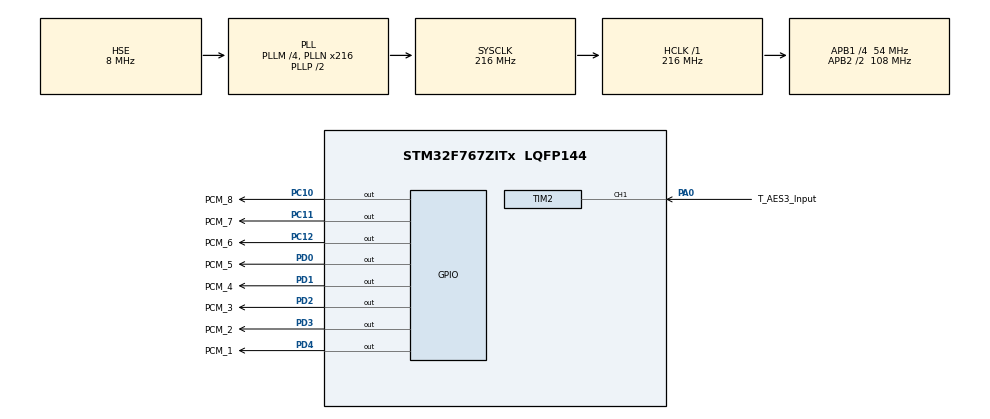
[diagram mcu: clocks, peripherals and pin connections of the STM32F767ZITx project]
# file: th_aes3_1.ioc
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Mcu.Family=STM32F7
Mcu.Name=STM32F767ZITx
Mcu.Package=LQFP144
NVIC.PriorityGroup=NVIC_PRIORITYGROUP_4
NVIC.TIM1_BRK_TIM9_IRQn=true\:0\:0\:false\:false\:true\:true
NVIC.TIM1_CC_IRQn=true\:0\:0\:false\:false\:true\:true
NVIC.TIM1_TRG_COM_TIM11_IRQn=true\:0\:0\:false\:false\:true\:true
NVIC.TIM1_UP_TIM10_IRQn=true\:0\:0\:false\:false\:true\:true
NVIC.TIM2_IRQn=true\:0\:0\:false\:false\:true\:true
PA0/WKUP.GPIO_Label=T_AES3_Input
PA0/WKUP.Signal=S_TIM2_CH1_ETR
PA13.GPIO_Label=TMS
PA13.Mode=Serial_Wire
PA13.Signal=SYS_JTMS-SWDIO
PA14.GPIO_Label=TCK
PA14.Mode=Serial_Wire
PA14.Signal=SYS_JTCK-SWCLK
PC10.GPIO_Label=PCM_8
PC10.Signal=GPIO_Output
PC11.GPIO_Label=PCM_7
PC11.Signal=GPIO_Output
PC12.GPIO_Label=PCM_6
PC12.GPIO_Speed=GPIO_SPEED_FREQ_VERY_HIGH
PC12.Signal=GPIO_Output
PC14/OSC32_IN.Mode=LSE-External-Oscillator
PC14/OSC32_IN.Signal=RCC_OSC32_IN
PC15/OSC32_OUT.Mode=LSE-External-Oscillator
PC15/OSC32_OUT.Signal=RCC_OSC32_OUT
PD0.GPIO_Label=PCM_5
PD0.Signal=GPIO_Output
PD1.GPIO_Label=PCM_4
PD1.Signal=GPIO_Output
PD2.GPIO_Label=PCM_3
PD2.Signal=GPIO_Output
PD3.GPIO_Label=PCM_2
PD3.Signal=GPIO_Output
PD4.GPIO_Label=PCM_1
PD4.Signal=GPIO_Output
PH0/OSC_IN.GPIO_Label=MCO [STM32F103CBT6_PA8]
PH0/OSC_IN.Mode=HSE-External-Clock-Source
PH0/OSC_IN.Signal=RCC_OSC_IN
PH1/OSC_OUT.Mode=HSE-External-Clock-Source
PH1/OSC_OUT.Signal=RCC_OSC_OUT
ProjectManager.HeapSize=0x200
ProjectManager.StackSize=0x400
ProjectManager.TargetToolchain=SW4STM32
RCC.48MHZClocksFreq_Value=24000000
RCC.AHBFreq_Value=216000000
RCC.APB1CLKDivider=RCC_HCLK_DIV4
RCC.APB1Freq_Value=54000000
RCC.APB1TimFreq_Value=108000000
RCC.APB2CLKDivider=RCC_HCLK_DIV2
RCC.APB2Freq_Value=108000000
RCC.APB2TimFreq_Value=216000000
RCC.CortexFreq_Value=216000000
RCC.HCLKFreq_Value=216000000
RCC.HSE_VALUE=8000000
RCC.HSI_VALUE=16000000
RCC.PLLM=4
RCC.PLLMUL=RCC_PLL_MUL9
RCC.PLLN=216
RCC.PLLQ=9
RCC.PLLSourceVirtual=RCC_PLLSOURCE_HSE
RCC.PRESCALERUSB=RCC_USBCLKSOURCE_PLL_DIV1_5
RCC.SYSCLKFreq_VALUE=216000000
RCC.SYSCLKSource=RCC_SYSCLKSOURCE_PLLCLK
RCC.SYSCLKSourceVirtual=RCC_SYSCLKSOURCE_PLLCLK
RCC.USBFreq_Value=48000000
RCC.VCOOutputFreq_Value=432000000
SH.S_TIM2_CH1_ETR.0=TIM2_CH1,Input_Capture1_from_TI1
TIM1.Channel-Input_Capture1_from_TI1=TIM_CHANNEL_1
TIM1.Period=1000
TIM1.RepetitionCounter=0
TIM2.Channel-Input_Capture1_from_TI1=TIM_CHANNEL_1
TIM2.ICPolarity_CH1=TIM_INPUTCHANNELPOLARITY_BOTHEDGE
TIM2.Period=1000
VP_TIM1_VS_ClockSourceINT.Mode=Internal
VP_TIM2_VS_ClockSourceINT.Mode=Internal
board=NUCLEO-F767ZI

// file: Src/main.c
/**
  ******************************************************************************
  * @file           : main.c
  * @brief          : Main program body
  ******************************************************************************
  ** This notice applies to any and all portions of this file
  * that are not between comment pairs USER CODE BEGIN and
  * USER CODE END. Other portions of this file, whether
  * inserted by the user or by software development tools
  * are owned by their respective copyright owners.
  *
  * COPYRIGHT(c) 2018 STMicroelectronics
  *
  * Redistribution and use in source and binary forms, with or without modification,
  * are permitted provided that the following conditions are met:
  *   1. Redistributions of source code must retain the above copyright notice,
  *      this list of conditions and the following disclaimer.
  *   2. Redistributions in binary form must reproduce the above copyright notice,
  *      this list of conditions and the following disclaimer in the documentation
  *      and/or other materials provided with the distribution.
  *   3. Neither the name of STMicroelectronics nor the names of its contributors
  *      may be used to endorse or promote products derived from this software
  *      without specific prior written permission.
  *
  * THIS SOFTWARE IS PROVIDED BY THE COPYRIGHT HOLDERS AND CONTRIBUTORS "AS IS"
  * AND ANY EXPRESS OR IMPLIED WARRANTIES, INCLUDING, BUT NOT LIMITED TO, THE
  * IMPLIED WARRANTIES OF MERCHANTABILITY AND FITNESS FOR A PARTICULAR PURPOSE ARE
  * DISCLAIMED. IN NO EVENT SHALL THE COPYRIGHT HOLDER OR CONTRIBUTORS BE LIABLE
  * FOR ANY DIRECT, INDIRECT, INCIDENTAL, SPECIAL, EXEMPLARY, OR CONSEQUENTIAL
  * DAMAGES (INCLUDING, BUT NOT LIMITED TO, PROCUREMENT OF SUBSTITUTE GOODS OR
  * SERVICES; LOSS OF USE, DATA, OR PROFITS; OR BUSINESS INTERRUPTION) HOWEVER
  * CAUSED AND ON ANY THEORY OF LIABILITY, WHETHER IN CONTRACT, STRICT LIABILITY,
  * OR TORT (INCLUDING NEGLIGENCE OR OTHERWISE) ARISING IN ANY WAY OUT OF THE USE
  * OF THIS SOFTWARE, EVEN IF ADVISED OF THE POSSIBILITY OF SUCH DAMAGE.
  *
  ******************************************************************************
  */
#include "main.h"
#include "stm32f7xx_hal.h"

/* USER CODE BEGIN Includes */
#include <stdio.h>
#include <string.h>

// macros & variables related to isolating the PCM sample

#define POPULATED_SUBFRAME 0
#define EMPTY_SUBFRAME 1

// macros & variables related to biphase mark code conversion
#define S_TIME  0
#define L_TIME  1
#define P_TIME  2
#define FAIL    3
#define START_OF_CYCLE 0
#define MID_CYCLE 1
unsigned long time_diff = 0;
static unsigned int previous_state = 0;

static unsigned int time_length = 0;
static unsigned int count = 0;
static unsigned int current_stage_of_subframe = 0;
static char   aes3_buffer[8] = {0};           ///< Memory for the buffer
static unsigned int buffer_count = 0;

// data structures used for detecting the preamble
static char   preamble_pattern[4] = {P_TIME, S_TIME, S_TIME, P_TIME};
static char   latest_four_digits[4] = {0};
static unsigned int    preamble_detected = 0;

/* USER CODE END Includes */

TIM_HandleTypeDef htim1;
TIM_HandleTypeDef htim2;

/* USER CODE BEGIN PV */
/* Private variables ---------------------------------------------------------*/

/* USER CODE END PV */

void SystemClock_Config(void);
static void MX_GPIO_Init(void);
static void MX_TIM2_Init(void);
static void MX_TIM1_Init(void);

/* USER CODE BEGIN PFP */
/* Private function prototypes -----------------------------------------------*/

/* USER CODE END PFP */

int main(void)
{

  /* MCU Configuration----------------------------------------------------------*/

  /* Reset of all peripherals, Initializes the Flash interface and the Systick. */
  HAL_Init();

  /* Configure the system clock */
  SystemClock_Config();

  /* Initialize all configured peripherals */
  MX_GPIO_Init();
  MX_TIM2_Init();
  MX_TIM1_Init();
  /* USER CODE BEGIN 2 */

  HAL_TIM_IC_Start_IT(&htim2, TIM_CHANNEL_1); // start the timer
  HAL_GPIO_WritePin(GPIOC, PCM_1_Pin|PCM_7_Pin|PCM_6_Pin, GPIO_PIN_RESET);
  HAL_GPIO_WritePin(GPIOD, PCM_5_Pin|PCM_4_Pin|PCM_3_Pin|PCM_2_Pin
                          |PCM_8_Pin, GPIO_PIN_SET);

  //HAL_TIM_PWM_Start(&htim1, TIM_CHANNEL_1); // we probably won't need this anyway amirite
  /* USER CODE END 2 */

  /* Infinite loop */
  /* USER CODE BEGIN WHILE */
//  input_capture= __HAL_TIM_GetCompare(&htim2, TIM_CHANNEL_1);  // read TIM2 channel 1 capture value, I don't think i need it yo
  while (1)
  {
  /* USER CODE END WHILE */

  }

}

void SystemClock_Config(void)
{

  RCC_OscInitTypeDef RCC_OscInitStruct;
  RCC_ClkInitTypeDef RCC_ClkInitStruct;

    /**Configure the main internal regulator output voltage
    */
  __HAL_RCC_PWR_CLK_ENABLE();

  __HAL_PWR_VOLTAGESCALING_CONFIG(PWR_REGULATOR_VOLTAGE_SCALE1);

    /**Initializes the CPU, AHB and APB busses clocks
    */
  RCC_OscInitStruct.OscillatorType = RCC_OSCILLATORTYPE_HSE;
  RCC_OscInitStruct.HSEState = RCC_HSE_BYPASS;
  RCC_OscInitStruct.PLL.PLLState = RCC_PLL_ON;
  RCC_OscInitStruct.PLL.PLLSource = RCC_PLLSOURCE_HSE;
  RCC_OscInitStruct.PLL.PLLM = 4;
  RCC_OscInitStruct.PLL.PLLN = 216;
  RCC_OscInitStruct.PLL.PLLP = RCC_PLLP_DIV2;
  RCC_OscInitStruct.PLL.PLLQ = 9;
  if (HAL_RCC_OscConfig(&RCC_OscInitStruct) != HAL_OK)
  {
    _Error_Handler(__FILE__, __LINE__);
  }

    /**Activate the Over-Drive mode
    */
  if (HAL_PWREx_EnableOverDrive() != HAL_OK)
  {
    _Error_Handler(__FILE__, __LINE__);
  }

    /**Initializes the CPU, AHB and APB busses clocks
    */
  RCC_ClkInitStruct.ClockType = RCC_CLOCKTYPE_HCLK|RCC_CLOCKTYPE_SYSCLK
                              |RCC_CLOCKTYPE_PCLK1|RCC_CLOCKTYPE_PCLK2;
  RCC_ClkInitStruct.SYSCLKSource = RCC_SYSCLKSOURCE_PLLCLK;
  RCC_ClkInitStruct.AHBCLKDivider = RCC_SYSCLK_DIV1;
  RCC_ClkInitStruct.APB1CLKDivider = RCC_HCLK_DIV4;
  RCC_ClkInitStruct.APB2CLKDivider = RCC_HCLK_DIV2;

  if (HAL_RCC_ClockConfig(&RCC_ClkInitStruct, FLASH_LATENCY_7) != HAL_OK)
  {
    _Error_Handler(__FILE__, __LINE__);
  }

    /**Configure the Systick interrupt time
    */
  HAL_SYSTICK_Config(HAL_RCC_GetHCLKFreq()/1000);

    /**Configure the Systick
    */
  HAL_SYSTICK_CLKSourceConfig(SYSTICK_CLKSOURCE_HCLK);

  /* SysTick_IRQn interrupt configuration */
  HAL_NVIC_SetPriority(SysTick_IRQn, 0, 0);
}

/* TIM1 init function */
static void MX_TIM1_Init(void)
{

  TIM_ClockConfigTypeDef sClockSourceConfig;
  TIM_MasterConfigTypeDef sMasterConfig;

  htim1.Instance = TIM1;
  htim1.Init.Prescaler = 0;
  htim1.Init.CounterMode = TIM_COUNTERMODE_UP;
  htim1.Init.Period = 1000;
  htim1.Init.ClockDivision = TIM_CLOCKDIVISION_DIV1;
  htim1.Init.RepetitionCounter = 0;
  htim1.Init.AutoReloadPreload = TIM_AUTORELOAD_PRELOAD_DISABLE;
  if (HAL_TIM_Base_Init(&htim1) != HAL_OK)
  {
    _Error_Handler(__FILE__, __LINE__);
  }

  sClockSourceConfig.ClockSource = TIM_CLOCKSOURCE_INTERNAL;
  if (HAL_TIM_ConfigClockSource(&htim1, &sClockSourceConfig) != HAL_OK)
  {
    _Error_Handler(__FILE__, __LINE__);
  }

  sMasterConfig.MasterOutputTrigger = TIM_TRGO_RESET;
  sMasterConfig.MasterOutputTrigger2 = TIM_TRGO2_RESET;
  sMasterConfig.MasterSlaveMode = TIM_MASTERSLAVEMODE_DISABLE;
  if (HAL_TIMEx_MasterConfigSynchronization(&htim1, &sMasterConfig) != HAL_OK)
  {
    _Error_Handler(__FILE__, __LINE__);
  }

}

/* TIM2 init function */
static void MX_TIM2_Init(void)
{

  TIM_ClockConfigTypeDef sClockSourceConfig;
  TIM_MasterConfigTypeDef sMasterConfig;
  TIM_IC_InitTypeDef sConfigIC;

  htim2.Instance = TIM2;
  htim2.Init.Prescaler = 0;
  htim2.Init.CounterMode = TIM_COUNTERMODE_UP;
  htim2.Init.Period = 1000;
  htim2.Init.ClockDivision = TIM_CLOCKDIVISION_DIV1;
  htim2.Init.AutoReloadPreload = TIM_AUTORELOAD_PRELOAD_DISABLE;
  if (HAL_TIM_Base_Init(&htim2) != HAL_OK)
  {
    _Error_Handler(__FILE__, __LINE__);
  }

  sClockSourceConfig.ClockSource = TIM_CLOCKSOURCE_INTERNAL;
  if (HAL_TIM_ConfigClockSource(&htim2, &sClockSourceConfig) != HAL_OK)
  {
    _Error_Handler(__FILE__, __LINE__);
  }

  if (HAL_TIM_IC_Init(&htim2) != HAL_OK)
  {
    _Error_Handler(__FILE__, __LINE__);
  }

  sMasterConfig.MasterOutputTrigger = TIM_TRGO_RESET;
  sMasterConfig.MasterSlaveMode = TIM_MASTERSLAVEMODE_DISABLE;
  if (HAL_TIMEx_MasterConfigSynchronization(&htim2, &sMasterConfig) != HAL_OK)
  {
    _Error_Handler(__FILE__, __LINE__);
  }

  sConfigIC.ICPolarity = TIM_INPUTCHANNELPOLARITY_BOTHEDGE;
  sConfigIC.ICSelection = TIM_ICSELECTION_DIRECTTI;
  sConfigIC.ICPrescaler = TIM_ICPSC_DIV1;
  sConfigIC.ICFilter = 0;
  if (HAL_TIM_IC_ConfigChannel(&htim2, &sConfigIC, TIM_CHANNEL_1) != HAL_OK)
  {
    _Error_Handler(__FILE__, __LINE__);
  }

}

/** Configure pins as
        * Analog
        * Input
        * Output
        * EVENT_OUT
        * EXTI
        * Free pins are configured automatically as Analog (this feature is enabled through
        * the Code Generation settings)
*/
static void MX_GPIO_Init(void)
{

  GPIO_InitTypeDef GPIO_InitStruct;

  /* GPIO Ports Clock Enable */
  __HAL_RCC_GPIOE_CLK_ENABLE();
  __HAL_RCC_GPIOC_CLK_ENABLE();
  __HAL_RCC_GPIOF_CLK_ENABLE();
  __HAL_RCC_GPIOH_CLK_ENABLE();
  __HAL_RCC_GPIOA_CLK_ENABLE();
  __HAL_RCC_GPIOB_CLK_ENABLE();
  __HAL_RCC_GPIOG_CLK_ENABLE();
  __HAL_RCC_GPIOD_CLK_ENABLE();

  /*Configure GPIO pin Output Level */
  HAL_GPIO_WritePin(GPIOC, PCM_8_Pin|PCM_7_Pin|PCM_6_Pin, GPIO_PIN_RESET);

  /*Configure GPIO pin Output Level */
  HAL_GPIO_WritePin(GPIOD, PCM_5_Pin|PCM_4_Pin|PCM_3_Pin|PCM_2_Pin
                          |PCM_1_Pin, GPIO_PIN_RESET);

  /*Configure GPIO pins : PE2 PE3 PE4 PE5
                           PE6 PE7 PE8 PE9
                           PE10 PE11 PE12 PE13
                           PE14 PE15 PE0 PE1 */
  GPIO_InitStruct.Pin = GPIO_PIN_2|GPIO_PIN_3|GPIO_PIN_4|GPIO_PIN_5
                          |GPIO_PIN_6|GPIO_PIN_7|GPIO_PIN_8|GPIO_PIN_9
                          |GPIO_PIN_10|GPIO_PIN_11|GPIO_PIN_12|GPIO_PIN_13
                          |GPIO_PIN_14|GPIO_PIN_15|GPIO_PIN_0|GPIO_PIN_1;
  GPIO_InitStruct.Mode = GPIO_MODE_ANALOG;
  GPIO_InitStruct.Pull = GPIO_NOPULL;
  HAL_GPIO_Init(GPIOE, &GPIO_InitStruct);

  /*Configure GPIO pins : PC13 PC0 PC1 PC2
                           PC3 PC4 PC5 PC6
                           PC7 PC8 PC9 */
  GPIO_InitStruct.Pin = GPIO_PIN_13|GPIO_PIN_0|GPIO_PIN_1|GPIO_PIN_2
                          |GPIO_PIN_3|GPIO_PIN_4|GPIO_PIN_5|GPIO_PIN_6
                          |GPIO_PIN_7|GPIO_PIN_8|GPIO_PIN_9;
  GPIO_InitStruct.Mode = GPIO_MODE_ANALOG;
  GPIO_InitStruct.Pull = GPIO_NOPULL;
  HAL_GPIO_Init(GPIOC, &GPIO_InitStruct);

  /*Configure GPIO pins : PF0 PF1 PF2 PF3
                           PF4 PF5 PF6 PF7
                           PF8 PF9 PF10 PF11
                           PF12 PF13 PF14 PF15 */
  GPIO_InitStruct.Pin = GPIO_PIN_0|GPIO_PIN_1|GPIO_PIN_2|GPIO_PIN_3
                          |GPIO_PIN_4|GPIO_PIN_5|GPIO_PIN_6|GPIO_PIN_7
                          |GPIO_PIN_8|GPIO_PIN_9|GPIO_PIN_10|GPIO_PIN_11
                          |GPIO_PIN_12|GPIO_PIN_13|GPIO_PIN_14|GPIO_PIN_15;
  GPIO_InitStruct.Mode = GPIO_MODE_ANALOG;
  GPIO_InitStruct.Pull = GPIO_NOPULL;
  HAL_GPIO_Init(GPIOF, &GPIO_InitStruct);

  /*Configure GPIO pins : PA1 PA2 PA3 PA4
                           PA5 PA6 PA7 PA8
                           PA9 PA10 PA11 PA12
                           PA15 */
  GPIO_InitStruct.Pin = GPIO_PIN_1|GPIO_PIN_2|GPIO_PIN_3|GPIO_PIN_4
                          |GPIO_PIN_5|GPIO_PIN_6|GPIO_PIN_7|GPIO_PIN_8
                          |GPIO_PIN_9|GPIO_PIN_10|GPIO_PIN_11|GPIO_PIN_12
                          |GPIO_PIN_15;
  GPIO_InitStruct.Mode = GPIO_MODE_ANALOG;
  GPIO_InitStruct.Pull = GPIO_NOPULL;
  HAL_GPIO_Init(GPIOA, &GPIO_InitStruct);

  /*Configure GPIO pins : PB0 PB1 PB2 PB10
                           PB11 PB12 PB13 PB14
                           PB15 PB3 PB4 PB5
                           PB6 PB7 PB8 PB9 */
  GPIO_InitStruct.Pin = GPIO_PIN_0|GPIO_PIN_1|GPIO_PIN_2|GPIO_PIN_10
                          |GPIO_PIN_11|GPIO_PIN_12|GPIO_PIN_13|GPIO_PIN_14
                          |GPIO_PIN_15|GPIO_PIN_3|GPIO_PIN_4|GPIO_PIN_5
                          |GPIO_PIN_6|GPIO_PIN_7|GPIO_PIN_8|GPIO_PIN_9;
  GPIO_InitStruct.Mode = GPIO_MODE_ANALOG;
  GPIO_InitStruct.Pull = GPIO_NOPULL;
  HAL_GPIO_Init(GPIOB, &GPIO_InitStruct);

  /*Configure GPIO pins : PG0 PG1 PG2 PG3
                           PG4 PG5 PG6 PG7
                           PG8 PG9 PG10 PG11
                           PG12 PG13 PG14 PG15 */
  GPIO_InitStruct.Pin = GPIO_PIN_0|GPIO_PIN_1|GPIO_PIN_2|GPIO_PIN_3
                          |GPIO_PIN_4|GPIO_PIN_5|GPIO_PIN_6|GPIO_PIN_7
                          |GPIO_PIN_8|GPIO_PIN_9|GPIO_PIN_10|GPIO_PIN_11
                          |GPIO_PIN_12|GPIO_PIN_13|GPIO_PIN_14|GPIO_PIN_15;
  GPIO_InitStruct.Mode = GPIO_MODE_ANALOG;
  GPIO_InitStruct.Pull = GPIO_NOPULL;
  HAL_GPIO_Init(GPIOG, &GPIO_InitStruct);

  /*Configure GPIO pins : PD8 PD9 PD10 PD11
                           PD12 PD13 PD14 PD15
                           PD5 PD6 PD7 */
  GPIO_InitStruct.Pin = GPIO_PIN_8|GPIO_PIN_9|GPIO_PIN_10|GPIO_PIN_11
                          |GPIO_PIN_12|GPIO_PIN_13|GPIO_PIN_14|GPIO_PIN_15
                          |GPIO_PIN_5|GPIO_PIN_6|GPIO_PIN_7;
  GPIO_InitStruct.Mode = GPIO_MODE_ANALOG;
  GPIO_InitStruct.Pull = GPIO_NOPULL;
  HAL_GPIO_Init(GPIOD, &GPIO_InitStruct);

  /*Configure GPIO pins : PCM_8_Pin PCM_7_Pin */
  GPIO_InitStruct.Pin = PCM_8_Pin|PCM_7_Pin;
  GPIO_InitStruct.Mode = GPIO_MODE_OUTPUT_PP;
  GPIO_InitStruct.Pull = GPIO_NOPULL;
  GPIO_InitStruct.Speed = GPIO_SPEED_FREQ_LOW;
  HAL_GPIO_Init(GPIOC, &GPIO_InitStruct);

  /*Configure GPIO pin : PCM_6_Pin */
  GPIO_InitStruct.Pin = PCM_6_Pin;
  GPIO_InitStruct.Mode = GPIO_MODE_OUTPUT_PP;
  GPIO_InitStruct.Pull = GPIO_NOPULL;
  GPIO_InitStruct.Speed = GPIO_SPEED_FREQ_VERY_HIGH;
  HAL_GPIO_Init(PCM_6_GPIO_Port, &GPIO_InitStruct);

  /*Configure GPIO pins : PCM_5_Pin PCM_4_Pin PCM_3_Pin PCM_2_Pin
                           PCM_1_Pin */
  GPIO_InitStruct.Pin = PCM_5_Pin|PCM_4_Pin|PCM_3_Pin|PCM_2_Pin
                          |PCM_1_Pin;
  GPIO_InitStruct.Mode = GPIO_MODE_OUTPUT_PP;
  GPIO_InitStruct.Pull = GPIO_NOPULL;
  GPIO_InitStruct.Speed = GPIO_SPEED_FREQ_LOW;
  HAL_GPIO_Init(GPIOD, &GPIO_InitStruct);

}

/* USER CODE BEGIN 4 */

void HAL_TIM_IC_CaptureCallback(TIM_HandleTypeDef *htim)
{
		if (htim -> Instance == TIM2)
		{
			time_diff = __HAL_TIM_GetCounter(&htim2); // read TIM2 counter value -> number of elapsed clock cycles, using a clock of 108 MHz
			if (time_diff < 22){ // a short time length between edges is calculated at 16 clock cycles (167 ns)
					time_length = S_TIME;
			}
			else if (time_diff < 36){ // a long time length between edges is calculated at 32 clock cycles (334 ns)
					time_length = L_TIME;
			}
			else if (time_diff < 52){ // a long time length violating BMC, indicating presence of preamble length between edges is calculated at 32 clock cycles (334 ns)
					time_length = P_TIME;

			}
			else{
					time_length = FAIL;
			}
			if (preamble_detected == 0)
			{
				// right bit shifting for the latest time lengths
				latest_four_digits[0] = latest_four_digits[1];
				latest_four_digits[1] = latest_four_digits[2];
				latest_four_digits[2] = latest_four_digits[3];
				latest_four_digits[3] = time_length;

				// check if the past four time lengths result in a preamble pattern
				if (memcmp(latest_four_digits, preamble_pattern, sizeof(preamble_pattern)) == 0){
					preamble_detected = 1;
				}
			}
			else // if preamble has been detected
			{
				// depending on which part of the frame we are currently in, we either store the time slots, or ignore the content
			    if (current_stage_of_subframe == POPULATED_SUBFRAME)
			    {
			    		// Converting biphase mark code to a TTL logic
			            if (time_length == S_TIME && previous_state == START_OF_CYCLE)
			            {
			                aes3_buffer[buffer_count] = 1;
			                buffer_count++;
			                previous_state = MID_CYCLE;
			            }
			            else if (time_length == S_TIME && previous_state == MID_CYCLE)
			            {
			                previous_state = START_OF_CYCLE;
			            }
			            else if (time_length == L_TIME)
			            {
			                aes3_buffer[buffer_count] = 0;
			                buffer_count++;
			            }
			            // Only 8 PCM data bits required
			            count++;
			            if (buffer_count>7)
			            {
			                current_stage_of_subframe = EMPTY_SUBFRAME;
			                // Depending on the data bits in the time slots, we set the GPIO pins forming the parallel bus
			                HAL_GPIO_WritePin(GPIOC, PCM_1_Pin, aes3_buffer[0]);
							HAL_GPIO_WritePin(GPIOC, PCM_2_Pin, aes3_buffer[1]);
							HAL_GPIO_WritePin(GPIOC, PCM_3_Pin, aes3_buffer[2]);
							HAL_GPIO_WritePin(GPIOC, PCM_4_Pin, aes3_buffer[3]);
							HAL_GPIO_WritePin(GPIOC, PCM_5_Pin, aes3_buffer[4]);
							HAL_GPIO_WritePin(GPIOC, PCM_6_Pin, aes3_buffer[5]);
							HAL_GPIO_WritePin(GPIOC, PCM_7_Pin, aes3_buffer[6]);
							HAL_GPIO_WritePin(GPIOC, PCM_8_Pin, aes3_buffer[7]);
			            }
			    }
			    else
			    {
			        	count++; //stop for the test
			          	if (count>680) //keep in mind 12*64 = 768 bits - 8 bits from preamble - 16 bits for audio sample in between = 744 and then set it to 700 for a safe margin, at which point preamble detection starts
			           	{
			               		count = 0;
			               		current_stage_of_subframe = POPULATED_SUBFRAME;
			               		preamble_detected = 0;
			           	}
			    }
			}
		__HAL_TIM_SetCounter(&htim2, 0); //reset counter after input capture interrupt occurs, +/- 4 above 12 for short
		}
}

/* USER CODE END 4 */

void _Error_Handler(char *file, int line)
{
  while(1)
  {
  }
}

/************************ (C) COPYRIGHT STMicroelectronics *****END OF FILE****/
